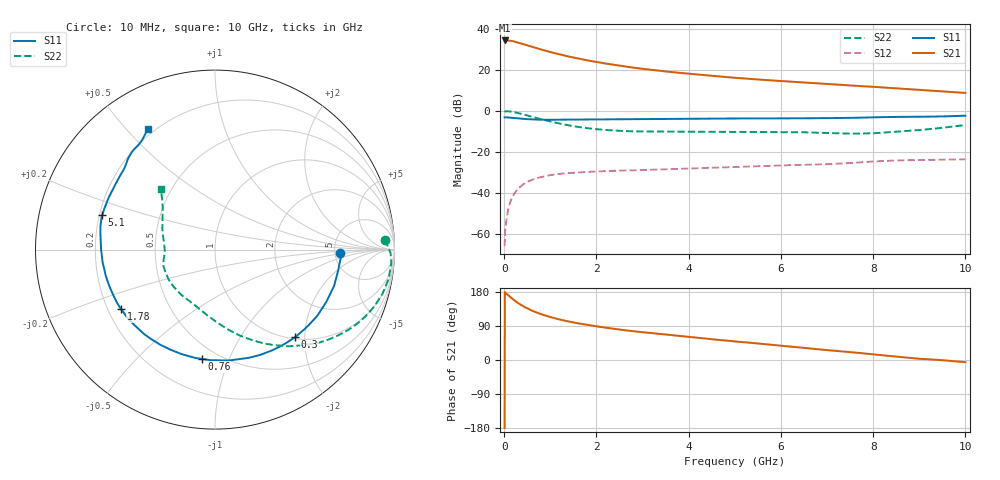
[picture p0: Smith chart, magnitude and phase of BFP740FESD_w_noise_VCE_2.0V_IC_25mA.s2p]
! Infineon Technologies  Discrete & RF Semiconductors
! BFP740FESD
! VCE =  2.0 V,  IC =  25 mA
! Common Emitter S-Parameters:  Jan 2016
# GHz  S  MA  R  50
!  f  S11  S21  S12  S22
! GHz  MAG  ANG  MAG  ANG  MAG  ANG  MAG  ANG
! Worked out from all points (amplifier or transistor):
!   233 points, 10 MHz to 10 GHz, reference 50 ohm
!   highest |S21| = 34.4 dB at 20 MHz (marker M1)
!   |S21| within 3 dB of that: start of sweep to 590.6 MHz
!   unconditionally stable (mu >= 1): 5.375 GHz to end of sweep
!   at 200 MHz: K = 0.10, MSG = 37.6 dB, |S12| = -41.1 dB
!   at 1.74 GHz: K = 0.50, MSG = 27.4 dB, |S12| = -29.8 dB
!   at 10 GHz: K = 1.17, MAG = 13.7 dB, |S12| = -23.6 dB
!   lowest NFmin = 0.89 dB at 450 MHz
!   S11 on the Smith chart (normalised r, x): 10 MHz: 5.57, -0.42; 300 MHz: 1.03, -1.79; 760 MHz: 0.41, -0.80; 1.78 GHz: 0.25, -0.27; 5.1 GHz: 0.21, +0.14; 10 GHz: 0.18, +0.57
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0.01  0.6972 -1.6  52.44 -179.6  0.0005 132.3  0.9483 3.3
0.02  0.7025 -3.4  52.7 178.0  0.0011 91.3  0.9784 -1.1
0.1  0.6937 -16.9  52.54 169.8  0.0045 82.8  0.9811 -9.5
0.15  0.6853 -25.1  51.59 164.4  0.0068 78.3  0.9655 -14.6
0.24  0.6703 -38.9  48.9 155.6  0.0103 72.2  0.9238 -22.8
0.3  0.6613 -47.6  47.04 150.4  0.0125 68.4  0.8914 -27.8
0.4  0.645 -60.7  43.54 142.8  0.0157 63.0  0.8334 -35.2
0.5  0.632 -72.4  40.15 136.1  0.0185 58.4  0.7766 -41.9
0.6  0.6228 -82.8  37.03 130.3  0.0208 54.4  0.7229 -47.6
0.76  0.6133 -97.0  32.69 122.8  0.0237 48.9  0.6474 -55.8
1  0.6104 -114.2  27.49 113.4  0.0271 42.8  0.554 -66.6
1.2  0.6125 -125.5  24.12 106.9  0.0291 39.0  0.4933 -74.6
1.4  0.6141 -134.6  21.33 101.5  0.0305 36.0  0.4451 -81.6
1.68  0.6183 -144.6  18.36 95.1  0.032 33.1  0.3966 -90.2
1.78  0.6197 -147.5  17.42 93.1  0.0324 32.4  0.3835 -92.9
2.2  0.6221 -158.3  14.4 85.2  0.034 30.0  0.3439 -103.9
2.52  0.6247 -165.1  12.68 80.1  0.035 28.8  0.327 -111.4
3.4  0.633 -178.7  9.487 68.5  0.0372 28.3  0.3146 -125.4
5.1  0.6575 162.9  6.342 48.0  0.0432 28.9  0.3085 -144.0
6.8  0.666 144.7  4.703 28.5  0.0495 28.8  0.2956 -166.0
8.4  0.7136 130.5  3.63 10.1  0.0613 26.7  0.3057 162.7
10  0.768 119.3  2.76 -5.8  0.066 19.3  0.4532 131.8
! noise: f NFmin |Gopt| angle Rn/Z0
0.45  0.89  0.09  -166  0.08
2.4  0.91  0.13  -166  0.09
5.5  1.07  0.18  -165  0.08
10  1.57  0.39  -118  0.19
